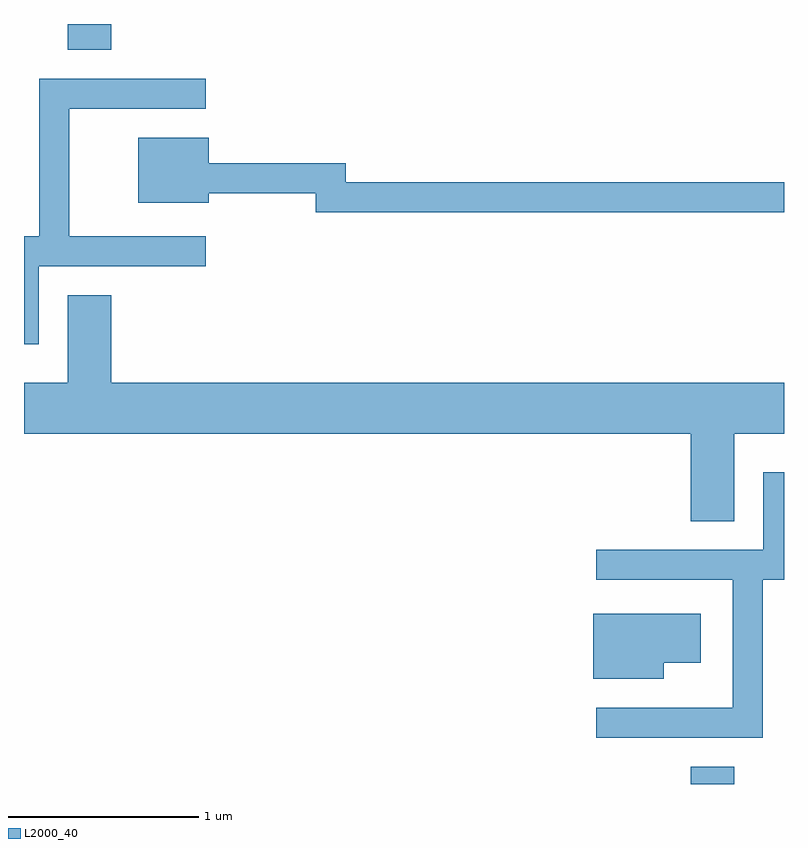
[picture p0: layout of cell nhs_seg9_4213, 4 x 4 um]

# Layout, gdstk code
import gdstk
lib = gdstk.Library(unit=1e-6, precision=1e-09)
def R(c, l, rs):  # rectangles x0, y0, x1, y1
    for r in rs: c.add(gdstk.rectangle(r[:2], r[2:], *l))
def P(c, l, *ps):  # polygons
    for p in ps: c.add(gdstk.Polygon(p, *l))
L2000_40 = (2000, 40)

nhs_seg9_4213 = lib.new_cell('nhs_seg9_4213')
R(nhs_seg9_4213, L2000_40, [(313.121,1974.432,313.349,1974.524), (309.841,1978.296,310.069,1978.432)])
P(nhs_seg9_4213, L2000_40, [(309.689,1977.156),(310.568,1977.156),(310.568,1977.314),(309.849,1977.314),(309.849,1977.986),(310.568,1977.986),(310.568,1978.144),(309.691,1978.144),(309.691,1977.314),(309.611,1977.314),(309.611,1976.746),(309.689,1976.746)],
  [(313.611,1977.599),(311.304,1977.599),(311.304,1977.699),(310.584,1977.699),(310.584,1977.834),(310.211,1977.834),(310.211,1977.491),(310.584,1977.491),(310.584,1977.541),(311.146,1977.541),(311.146,1977.441),(313.611,1977.441)],
  [(313.349,1976.276),(313.611,1976.276),(313.611,1976.544),(310.069,1976.544),(310.069,1977.004),(309.841,1977.004),(309.841,1976.544),(309.611,1976.544),(309.611,1976.276),(313.121,1976.276),(313.121,1975.816),(313.349,1975.816)],
  [(313.499,1975.506),(313.611,1975.506),(313.611,1976.074),(313.501,1976.074),(313.501,1975.664),(312.623,1975.664),(312.623,1975.506),(313.341,1975.506),(313.341,1974.834),(312.623,1974.834),(312.623,1974.676),(313.499,1974.676)],
  [(312.979,1975.071),(313.174,1975.071),(313.174,1975.329),(312.606,1975.329),(312.606,1974.986),(312.979,1974.986)])

lib.write_gds('nhs_seg9_4213.gds')
